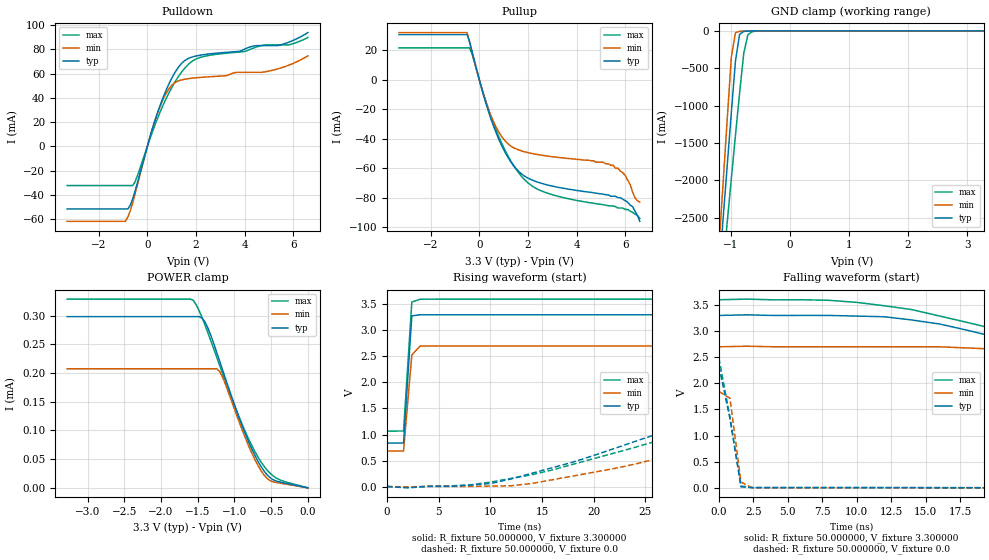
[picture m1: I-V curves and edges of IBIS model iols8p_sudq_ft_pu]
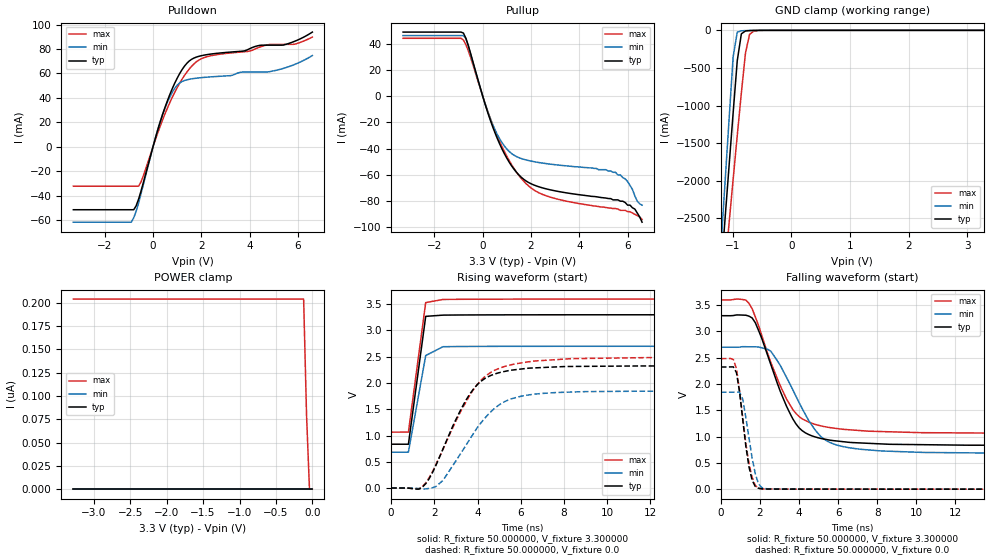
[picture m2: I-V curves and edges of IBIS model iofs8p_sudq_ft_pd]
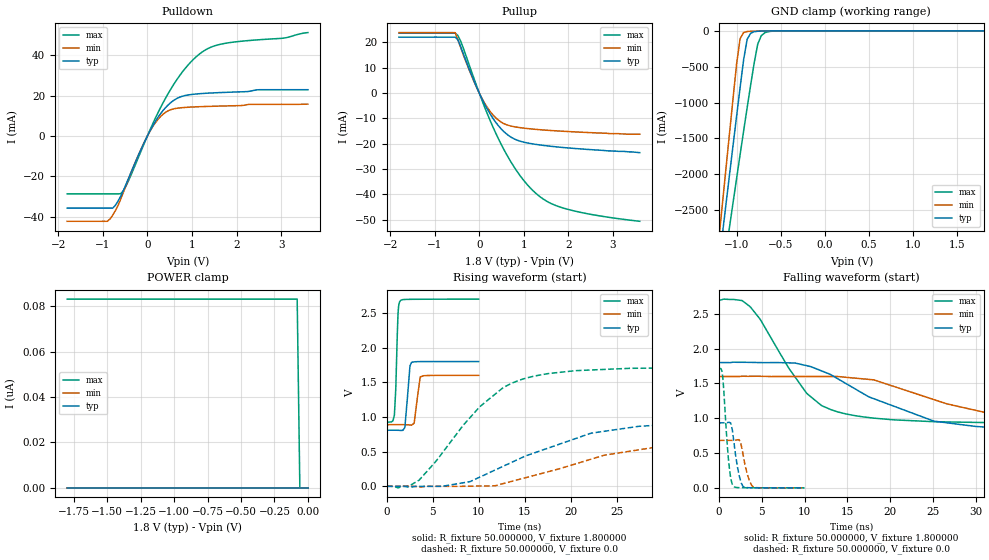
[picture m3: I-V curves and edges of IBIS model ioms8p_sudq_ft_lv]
|   IBIS file stm32l412_422_wlcsp36.ibs
[IBIS ver]   4.2
[File name]   stm32l412_422_wlcsp36.ibs
[File Rev]   1.0
[Date]   08-10-2018
[Source]   Data Created at STMicroelectronics
[Notes]   File originated from ELDO simulations.
[Disclaimer]   This information is for modeling purpose only and is
   not guarantEed.
   The information is subject to change without notice.
[Copyright]   Copyright 2018 STMicroelectronics Inc.
|   Component stm32l412_422_wlcsp36
[Component] stm32l412_422_wlcsp36
[Manufacturer] STMicroelectronics
[Package]
| variable   typ   min   max
R_pkg   0   0   0
L_pkg   0   0   0
C_pkg   0   0   0
[Pin]   signal_name   model_name   R_pin   L_pin   C_pin
A1 PA12 io8usblsfs_otg2
A2 PA14 io8prog2m25m50m120m_sudq_ft
A3 PB4 io8prog2m25m50m120m_sudq_i2c_ft
A4 PB7 io8prog2m25m50m120m_sudq_i2c_ft
A5 VSS GND
A6 VDD POWER
B1 PA11 io8usblsfs_otg2
B2 PA13 io8prog2m25m50m120m_sudq_ft
B3 PB3 io8prog2m25m50m120m_sudq_ft
B4 PB6 io8prog2m25m50m120m_sudq_i2c_ft
B5 PB8 io8prog2m25m50m120m_sudq_i2c_ft
B6 PC14-OSC32_IN io8prog2m25m50m120m_sudq_ft
C1 PA9 io8prog2m25m50m120m_sudq_i2c_ft
C2 PA10 io8prog2m25m50m120m_sudq_i2c_ft
C3 PA15 io8prog2m25m50m120m_sudq_ft
C4 PB5 io8prog2m25m50m120m_sudq_ft
C5 PH3-BOOT0 io8prog2m25m50m120m_sudq_ft
C6 PC15-OSC32_OUT io8prog2m25m50m120m_sudq_ft
D1 PA8 io8prog2m25m50m120m_sudq_ft
D2 PB1 io8prog2m25m50m120m_sudq_ft
D3 PA6 io8prog2m25m50m120m_sudq_ft
D4 PA1 io8prog2m25m50m120m_sudq_ft
D5 PA0 io8prog2m25m50m120m_sudq_ft
D6 NRST ioreset_ft_v33
E1 VDD POWER
E2 PB2 io8prog2m25m50m120m_sudq_ft
E3 PA7 io8prog2m25m50m120m_sudq_i2c_ft
E4 PA5 io8prog2m25m50m120m_sudq_ft
E5 PA2 io8prog2m25m50m120m_sudq_ft
E6 VREF+ POWER
F1 VSS GND
F2 PB10 io8prog2m25m50m120m_sudq_i2c_ft
F3 PB0 io8prog2m25m50m120m_sudq_ft
F4 PA4 io8prog2m25m50m120m_sudq_ft
F5 PA3 io8prog2m25m50m120m_sudq_ft
F6 VDDA POWER
[Model Selector] io8prog2m25m50m120m_sudq_ft
iols8p_sudq_ft_pd_lv  "IO low speed, PD=40kOhm - 1P8V"
iols8p_sudq_ft_pu_lv  "IO low speed, PU=40kOhm - 1P8V"
iols8p_sudq_ft_lv  "IO low speed - 1P8V"
iols8p_sudq_ft_pd  "IO low speed, PD=40kOhm - 3P3V"
iols8p_sudq_ft_pu  "IO low speed, PU=40kOhm - 3P3V"
iols8p_sudq_ft  "IO low speed - 3P3V"
iofs8p_sudq_ft_pd_lv  "IO full speed, PD=40kOhm - 1P8V"
iofs8p_sudq_ft_pu_lv  "IO full speed, PU=40kOhm - 1P8V"
iofs8p_sudq_ft_lv  "IO full speed - 1P8V"
iofs8p_sudq_ft_pd  "IO full speed, PD=40kOhm - 3P3V"
iofs8p_sudq_ft_pu  "IO full speed, PU=40kOhm - 3P3V"
iofs8p_sudq_ft  "IO full speed - 3P3V"
ioms8p_sudq_ft_pd_lv  "IO medium speed, PD=40kOhm - 1P8V"
ioms8p_sudq_ft_pu_lv  "IO medium speed, PU=40kOhm - 1P8V"
ioms8p_sudq_ft_lv  "IO medium speed - 1P8V"
ioms8p_sudq_ft_pd  "IO medium speed, PD=40kOhm - 3P3V"
ioms8p_sudq_ft_pu  "IO medium speed, PU=40kOhm - 3P3V"
ioms8p_sudq_ft  "IO medium speed - 3P3V"
iohs8p_sudq_ft_pd_lv  "IO high speed, PD=40kOhm - 1P8V"
iohs8p_sudq_ft_pu_lv  "IO high speed, PU=40kOhm - 1P8V"
iohs8p_sudq_ft_lv  "IO high speed - 1P8V"
iohs8p_sudq_ft_pd  "IO high speed, PD=40kOhm - 3P3V"
iohs8p_sudq_ft_pu  "IO high speed, PU=40kOhm - 3P3V"
iohs8p_sudq_ft  "IO high speed - 3P3V"
[Model Selector] io8prog2m25m50m120m_sudq_i2c_ft
io8prog_1v8_i2c_pd  "5V Tol GPIO 1.8V range i2c functionality with pull down"
io8prog_1v8_i2c_pu  "5V Tol GPIO 1.8V range i2c functionality with pull up"
io8prog_1v8_i2c  "5V Tol GPIO 1.8V range i2c functionality"
io8prog_3v3_i2c_pd  "5V Tol GPIO 3.3V range i2c functionality with pull down"
io8prog_3v3_i2c_pu  "5V Tol GPIO 3.3V range i2c functionality with pull up"
io8prog_3v3_i2c  "5V Tol GPIO 3.3V range i2c functionality"
io8ls_1v8_pd  "5V Tol GPIO 1.8V range with pd io low speed"
io8ls_1v8_pu  "5V Tol GPIO 1.8V range with pu io low speed"
io8ls_1v8  "5V Tol GPIO 1.8V range io low speed"
io8ls_3v3_pd  "5V Tol GPIO 3.3V range with pd io low speed"
io8ls_3v3_pu  "5V Tol GPIO 3.3V range with pu io low speed"
io8ls_3v3  "5V Tol GPIO 3.3V range io low speed"
io8fs_1v8_pd  "5V Tol GPIO 1.8V range with pd io full speed"
io8fs_1v8_pu  "5V Tol GPIO 1.8V range with pu io full speed"
io8fs_1v8  "5V Tol GPIO 1.8V range io full speed"
io8fs_3v3_pd  "5V Tol GPIO 3.3V range with pd io full speed"
io8fs_3v3_pu  "5V Tol GPIO 3.3V range with pu io full speed"
io8fs_3v3  "5V Tol GPIO 3.3V range io full speed"
io8ms_1v8_pd  "5V Tol GPIO 1.8V range with pd io medium speed"
io8ms_1v8_pu  "5V Tol GPIO 1.8V range with pu io medium speed"
io8ms_1v8  "5V Tol GPIO 1.8V range io medium speed"
io8ms_3v3_pd  "5V Tol GPIO 3.3V range with pd io medium speed"
io8ms_3v3_pu  "5V Tol GPIO 3.3V range with pu io medium speed"
io8ms_3v3  "5V Tol GPIO 3.3V range io medium speed"
io8hs_1v8_pd  "5V Tol GPIO 1.8V range with pd io high speed"
io8hs_1v8_pu  "5V Tol GPIO 1.8V range with pu io high speed"
io8hs_1v8  "5V Tol GPIO 1.8V range io high speed"
io8hs_3v3_pd  "5V Tol GPIO 3.3V range with pd io high speed"
io8hs_3v3_pu  "5V Tol GPIO 3.3V range with pu io high speed"
io8hs_3v3  "5V Tol GPIO 3.3V range io high speed"
[Model Selector] io8usblsfs_otg2
usb_ls_pd  "USB Low Speed mode - Pull Down"
usb_ls_pu2  "USB Low Speed mode - Pull up 2"
usb_ls_pu  "USB Low Speed mode - Pull up"
usb_fs  "USB Low Speed mode"
usb_fs_pd  "USB Full Speed mode - Pull Down"
usb_fs_pu2  "USB Full Speed mode - Pull up 2"
usb_fs_pu  "USB Full Speed mode - Pull up"
[Model Selector] ioreset_ft_v33
ioreset_1v2_pu  "RESET 1.2V range with PU"
ioreset_1v2  "RESET 1.2V range"
ioreset_1v8_pu  "RESET 1.8V range with PU"
ioreset_1v8  "RESET 1.8V range"
ioreset_3v3_pu  "RESET 3.3V range with PU"
ioreset_3v3  "RESET 3.3V range"
| Models and submodels in the file (67): iols8p_sudq_ft_pd_lv (I/O), iols8p_sudq_ft_pu_lv (I/O), iols8p_sudq_ft_lv (I/O), iols8p_sudq_ft_pd (I/O), iols8p_sudq_ft_pu (I/O), iols8p_sudq_ft (I/O), iofs8p_sudq_ft_pd_lv (I/O), iofs8p_sudq_ft_pu_lv (I/O), iofs8p_sudq_ft_lv (I/O), iofs8p_sudq_ft_pd (I/O), iofs8p_sudq_ft_pu (I/O), iofs8p_sudq_ft (I/O), ioms8p_sudq_ft_pd_lv (I/O), ioms8p_sudq_ft_pu_lv (I/O), ioms8p_sudq_ft_lv (I/O), ioms8p_sudq_ft_pd (I/O), ioms8p_sudq_ft_pu (I/O), ioms8p_sudq_ft (I/O), iohs8p_sudq_ft_pd_lv (I/O), iohs8p_sudq_ft_pu_lv (I/O), iohs8p_sudq_ft_lv (I/O), iohs8p_sudq_ft_pd (I/O), iohs8p_sudq_ft_pu (I/O), iohs8p_sudq_ft (I/O), io8prog_1v8_i2c_pd (I/O), io8prog_1v8_i2c_pu (I/O), io8prog_1v8_i2c (I/O), io8prog_3v3_i2c_pd (I/O), io8prog_3v3_i2c_pu (I/O), io8prog_3v3_i2c (I/O), io8ls_1v8_pd (I/O), io8ls_1v8_pu (I/O), io8ls_1v8 (I/O), io8ls_3v3_pd (I/O), io8ls_3v3_pu (I/O), io8ls_3v3 (I/O), io8fs_1v8_pd (I/O), io8fs_1v8_pu (I/O), io8fs_1v8 (I/O), io8fs_3v3_pd (I/O), io8fs_3v3_pu (I/O), io8fs_3v3 (I/O), io8ms_1v8_pd (I/O), io8ms_1v8_pu (I/O), io8ms_1v8 (I/O), io8ms_3v3_pd (I/O), io8ms_3v3_pu (I/O), io8ms_3v3 (I/O), io8hs_1v8_pd (I/O), io8hs_1v8_pu (I/O), io8hs_1v8 (I/O), io8hs_3v3_pd (I/O), io8hs_3v3_pu (I/O), io8hs_3v3 (I/O), usb_ls_pd (I/O), usb_ls_pu2 (I/O), usb_ls_pu (I/O), usb_fs (I/O), usb_fs_pd (I/O), usb_fs_pu2 (I/O), usb_fs_pu (I/O), ioreset_1v2_pu (I/O_open_drain), ioreset_1v2 (I/O_open_drain), ioreset_1v8_pu (I/O_open_drain), ioreset_1v8 (I/O_open_drain), ioreset_3v3_pu (I/O_open_drain), ioreset_3v3 (I/O_open_drain)
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|   Model iols8p_sudq_ft_pu
[Model]  iols8p_sudq_ft_pu
Model_type I/O
Polarity   Non-Inverting
Enable   Active-Low
Vinl =   0.990000V
Vinh =   2.310000V
Vmeas =  1.650000V
Cref =   50.000000pF
Rref =   100.000000M
Vref =   0.0V
C_comp   2.036400pF   1.984000pF   2.082300pF
[Temperature Range]   25.000000   -40.000000   0.125000k
[Pullup Reference]   3.300000V   2.700000V   3.600000V
[Pulldown Reference]   0.0V   0.0V   0.0V
[POWER Clamp Reference]   3.300000V   2.700000V   3.600000V
[GND Clamp Reference]   0.0V   0.0V   0.0V
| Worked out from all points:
|   slope of the pulldown table from 0 to 0.495 V, typ, clamps not added: 15.4 ohm
|   slope of the pullup table from 0 to 0.495 V, typ, clamps not added: 18.1 ohm
|   GND clamp passes 1 mA (typ) near -0.60 V on its own axis
|   rising waveform, R_fixture 50.000000, V_fixture 3.300000: 20-80 % time 485ps typ, 525ps min, 492ps max; typ from 0.836 V to 3.3 V
|   rising waveform, R_fixture 50.000000, V_fixture 0.0: 20-80 % time 24.4ns typ, 26.2ns min, 30.7ns max; typ from 0.001 V to 2.33 V
|   falling waveform, R_fixture 50.000000, V_fixture 3.300000: 20-80 % time 21.2ns typ, 25.4ns min, 23.9ns max; typ from 3.3 V to 0.836 V
|   falling waveform, R_fixture 50.000000, V_fixture 0.0: 20-80 % time 956ps typ, 552ps min, 969ps max; typ from 2.33 V to 0.001 V
[Pulldown]
|Voltage   I(typ)   I(min)   I(max)
-3.3V     -51.62mA   -61.84mA   -32.32mA
-900mV    -51.62mA   -61.84mA   -32.32mA
-800mV    -51.62mA   -58.24mA   -32.32mA
-500mV    -36.51mA   -38.7mA    -28.96mA
400mV     26.66mA    26.58mA    22.18mA
800mV     47.72mA    44.74mA    40.6mA
1.1V      59.79mA    52.18mA    51.93mA
1.5V      70.22mA    55.24mA    63.66mA
2.1V      74.97mA    56.75mA    72.88mA
4.9V      83.13mA    61.75mA    83.74mA
5.8V      85.85mA    66.87mA    83.74mA
6.6V      93.9mA     74.68mA    89.84mA
[Pullup]
|Voltage   I(typ)   I(min)   I(max)
-3.3V     30.51mA    31.92mA    21.54mA
-500mV    30.51mA    31.92mA    21.54mA
-300mV    19.24mA    18.93mA    17.46mA
500mV     -27.53mA   -25.31mA   -25.83mA
1V        -47.29mA   -40.29mA   -45.86mA
1.5V      -60.05mA   -46.83mA   -60.43mA
2V        -66.7mA    -49.43mA   -69.91mA
2.7V      -70.92mA   -51.53mA   -76.32mA
5.5V      -79mA      -58mA      -85.6mA
6V        -82mA      -65mA      -88mA
6.3V      -86mA      -76mA      -90mA
6.6V      -96mA      -83mA      -94mA
[GND_clamp]
|Voltage   I(typ)   I(min)   I(max)
-3.3V     -9.812A    -9.822A    -9.937A
-1.2V     -3.251A    -2.905A    -3.763A
-1.13V    -2.527A    -2.046A    -3.165A
-1.06V    -1.808A    -1.191A    -2.57A
-990mV    -1.097A    -352.6mA   -1.979A
-920mV    -404.2mA   -25.08mA   -1.398A
-850mV    -46.53mA   -6.503mA   -832.3mA
-780mV    -8.496mA   -3.578mA   -302.4mA
-710mV    -3.383mA   -1.716mA   -53.8mA
-640mV    -1.589mA   -553.8uA   -11.72mA
-360mV    -2.023uA   0A         -84.67uA
3.28V     0A         0A         0A
[POWER_clamp]
|Voltage   I(typ)   I(min)   I(max)
-3.28V    298.2uA    207.4uA    328.7uA
-1.56V    298.2uA    207.4uA    326.5uA
-1.48V    298.2uA    207.4uA    308.2uA
-1.4V     288.5uA    207.4uA    283.1uA
-1.24V    235.4uA    207.4uA    226.9uA
-1.2V     220.1uA    202.1uA    212.7uA
-1.12V    189.4uA    179.6uA    184.4uA
-920mV    116.5uA    109.4uA    118.1uA
-680mV    46.31uA    39.06uA    53.8uA
-560mV    23.38uA    16.91uA    31.65uA
-480mV    14.66uA    10.76uA    21.51uA
0V        0A         0A         0A
[Ramp]
| variable   typ   min   max
dV/dt_r  1.39432/24.32907n   1.10712/26.03302n   1.49022/30.66754n
dV/dt_f  1.47837/21.11983n   1.20959/25.32351n   1.52028/23.79583n
R_load = 50.000000
[Rising Waveform]
R_fixture= 50.000000
V_fixture= 3.300000
V_fixture_min= 2.700000
V_fixture_max= 3.600000
|time   V(typ)   V(min)   V(max)
0s        836mV      684mV      1.066V
1.602ns   835.8mV    683.5mV    1.067V
2.402ns   3.279V     2.529V     3.543V
3.203ns   3.299V     2.699V     3.598V
79.28ns   3.3V       2.7V       3.6V
[Rising Waveform]
R_fixture= 50.000000
V_fixture= 0.0
V_fixture_min= 0.0
V_fixture_max= 0.0
|time   V(typ)   V(min)   V(max)
0s        932.5uV    605.4uV    1.507mV
10.01ns   58.21mV    9.253mV    85.87mV
14.01ns   255mV      59.61mV    227.5mV
22.02ns   733mV      347.4mV    646.1mV
34.03ns   1.487V     931.9mV    1.309V
46.05ns   1.978V     1.401V     1.857V
58.06ns   2.166V     1.659V     2.17V
86.09ns   2.285V     1.807V     2.399V
188.2ns   2.326V     1.846V     2.486V
997ns     2.325V     1.846V     2.486V
[Falling Waveform]
R_fixture= 50.000000
V_fixture= 3.300000
V_fixture_min= 2.700000
V_fixture_max= 3.600000
|time   V(typ)   V(min)   V(max)
0s        3.3V       2.7V       3.6V
8.008ns   3.3V       2.7V       3.589V
16.02ns   3.136V     2.699V     3.289V
24.02ns   2.583V     2.575V     2.745V
38.04ns   1.562V     1.936V     1.818V
46.05ns   1.184V     1.512V     1.461V
54.05ns   1.038V     1.14V      1.302V
62.06ns   969.1mV    930.8mV    1.229V
88.09ns   885.8mV    756.3mV    1.123V
997ns     836mV      684mV      1.066V
[Falling Waveform]
R_fixture= 50.000000
V_fixture= 0.0
V_fixture_min= 0.0
V_fixture_max= 0.0
|time   V(typ)   V(min)   V(max)
0s        2.325V     1.846V     2.486V
800.8ps   1.327V     1.716V     1.355V
1.602ns   20.24mV    111mV      36.22mV
2.402ns   4.804mV    3.818mV    6.652mV
79.28ns   932.5uV    605.4uV    1.507mV
|   Model iofs8p_sudq_ft_pd
[Model]  iofs8p_sudq_ft_pd
Model_type I/O
Polarity   Non-Inverting
Enable   Active-Low
Vinl =   0.990000V
Vinh =   2.310000V
Vmeas =  1.650000V
Cref =   30.000000pF
Rref =   100.000000M
Vref =   0.0V
C_comp   2.036400pF   1.984000pF   2.082300pF
[Temperature Range]   25.000000   -40.000000   0.125000k
[Pullup Reference]   3.300000V   2.700000V   3.600000V
[Pulldown Reference]   0.0V   0.0V   0.0V
[POWER Clamp Reference]   3.300000V   2.700000V   3.600000V
[GND Clamp Reference]   0.0V   0.0V   0.0V
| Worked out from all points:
|   slope of the pulldown table from 0 to 0.495 V, typ, clamps not added: 15.4 ohm
|   slope of the pullup table from 0 to 0.495 V, typ, clamps not added: 18.1 ohm
|   GND clamp passes 1 mA (typ) near -0.60 V on its own axis
|   rising waveform, R_fixture 50.000000, V_fixture 3.300000: 20-80 % time 486ps typ, 526ps min, 494ps max; typ from 0.835 V to 3.3 V
|   rising waveform, R_fixture 50.000000, V_fixture 0.0: 20-80 % time 1.66ns typ, 1.92ns min, 1.89ns max; typ from 0 V to 2.32 V
|   falling waveform, R_fixture 50.000000, V_fixture 3.300000: 20-80 % time 1.55ns typ, 1.79ns min, 1.64ns max; typ from 3.3 V to 0.835 V
|   falling waveform, R_fixture 50.000000, V_fixture 0.0: 20-80 % time 470ps typ, 493ps min, 522ps max; typ from 2.32 V to 0 V
[Pulldown]
|Voltage   I(typ)   I(min)   I(max)
-3.3V     -51.62mA   -61.83mA   -32.32mA
-900mV    -51.62mA   -61.83mA   -32.32mA
-800mV    -51.62mA   -58.24mA   -32.32mA
-500mV    -36.51mA   -38.71mA   -28.96mA
400mV     26.66mA    26.58mA    22.18mA
800mV     47.72mA    44.74mA    40.6mA
1.1V      59.79mA    52.18mA    51.93mA
1.5V      70.22mA    55.24mA    63.66mA
2.1V      74.97mA    56.75mA    72.88mA
4.9V      83.19mA    61.75mA    83.83mA
5.9V      86.64mA    67.67mA    84.15mA
6.6V      93.9mA     74.68mA    89.84mA
[Pullup]
|Voltage   I(typ)   I(min)   I(max)
-3.3V     48.87mA    46.22mA    44.14mA
-800mV    48.12mA    46.22mA    42.77mA
-600mV    38.73mA    38.61mA    34.8mA
200mV     -11.99mA   -11.47mA   -11.05mA
600mV     -32.08mA   -29.08mA   -30.29mA
1.3V      -55.75mA   -45.02mA   -55.23mA
2V        -66.7mA    -49.43mA   -69.91mA
3.2V      -72.82mA   -52.6mA    -78.89mA
5.5V      -79mA      -58mA      -85.6mA
6V        -83mA      -65mA      -88mA
6.3V      -86mA      -76mA      -90mA
6.6V      -96mA      -83mA      -94mA
[GND_clamp]
|Voltage   I(typ)   I(min)   I(max)
-3.3V     -9.812A    -9.822A    -9.937A
-1.2V     -3.251A    -2.905A    -3.763A
-1.13V    -2.527A    -2.046A    -3.165A
-1.06V    -1.808A    -1.191A    -2.57A
-990mV    -1.097A    -352.7mA   -1.979A
-920mV    -404.2mA   -25.09mA   -1.398A
-850mV    -46.54mA   -6.516mA   -832.3mA
-780mV    -8.509mA   -3.59mA    -302.4mA
-710mV    -3.395mA   -1.728mA   -53.82mA
-640mV    -1.602mA   -565.6uA   -11.73mA
-360mV    -11.48uA   -7.86uA    -95.15uA
3.28V     87.11uA    57.76uA    110.6uA
[POWER_clamp]
|Voltage   I(typ)   I(min)   I(max)
-3.28V    0A         0A         204.1nA
-120mV    0A         0A         204.1nA
-80mV     0A         0A         79.47nA
-40mV     0A         0A         0A
0V        0A         0A         0A
[Ramp]
| variable   typ   min   max
dV/dt_r  1.39416/1.65295n   1.10664/1.91106n   1.48986/1.88847n
dV/dt_f  1.47851/1.54452n   1.20975/1.78516n   1.52064/1.64136n
R_load = 50.000000
[Rising Waveform]
R_fixture= 50.000000
V_fixture= 3.300000
V_fixture_min= 2.700000
V_fixture_max= 3.600000
|time   V(typ)   V(min)   V(max)
0s        834.7mV    683mV      1.064V
800.8ps   834.1mV    682.6mV    1.065V
1.602ns   3.269V     2.523V     3.532V
2.402ns   3.293V     2.691V     3.591V
79.28ns   3.299V     2.699V     3.598V
[Rising Waveform]
R_fixture= 50.000000
V_fixture= 0.0
V_fixture_min= 0.0
V_fixture_max= 0.0
|time   V(typ)   V(min)   V(max)
0s        467.6nV    1.94uV     32.32nV
1.281ns   -21.71mV   -9.578mV   -16.11mV
1.602ns   82.39mV    -16.2mV    97.29mV
2.402ns   745.2mV    146.1mV    737.2mV
3.363ns   1.599V     748.8mV    1.563V
4.164ns   2.034V     1.243V     2.051V
5.125ns   2.209V     1.616V     2.297V
6.567ns   2.286V     1.784V     2.416V
11.85ns   2.324V     1.844V     2.483V
79.76ns   2.323V     1.844V     2.483V
[Falling Waveform]
R_fixture= 50.000000
V_fixture= 3.300000
V_fixture_min= 2.700000
V_fixture_max= 3.600000
|time   V(typ)   V(min)   V(max)
0s        3.299V     2.699V     3.598V
1.441ns   3.29V      2.708V     3.533V
1.762ns   3.168V     2.708V     3.28V
2.563ns   2.366V     2.622V     2.408V
3.363ns   1.576V     2.125V     1.713V
4.004ns   1.166V     1.648V     1.381V
5.125ns   963.8mV    997.6mV    1.203V
6.246ns   903.5mV    810.3mV    1.139V
14.57ns   835.6mV    684.3mV    1.065V
79.76ns   834.7mV    683mV      1.064V
[Falling Waveform]
R_fixture= 50.000000
V_fixture= 0.0
V_fixture_min= 0.0
V_fixture_max= 0.0
|time   V(typ)   V(min)   V(max)
0s        2.323V     1.844V     2.483V
640.6ps   2.325V     1.844V     2.467V
800.8ps   2.215V     1.846V     2.29V
961ps     1.845V     1.845V     1.869V
1.121ns   1.325V     1.711V     1.358V
1.441ns   423.7mV    974.8mV    489.4mV
1.602ns   169mV      591.1mV    227.2mV
1.922ns   18.14mV    106.8mV    17.22mV
2.082ns   7.867mV    32.78mV    6.538mV
79.76ns   467.6nV    1.94uV     32.32nV
|   Model ioms8p_sudq_ft_lv
[Model]  ioms8p_sudq_ft_lv
Model_type I/O
Polarity   Non-Inverting
Enable   Active-Low
Vinl =   0.540000V
Vinh =   1.260000V
Vmeas =  0.900000V
Cref =   50.000000pF
Rref =   100.000000M
Vref =   0.0V
C_comp   1.984800pF   1.899400pF   2.077500pF
[Temperature Range]   25.000000   -40.000000   0.125000k
[Pullup Reference]   1.800000V   1.600000V   2.700000V
[Pulldown Reference]   0.0V   0.0V   0.0V
[POWER Clamp Reference]   1.800000V   1.600000V   2.700000V
[GND Clamp Reference]   0.0V   0.0V   0.0V
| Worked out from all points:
|   slope of the pulldown table from 0 to 0.27 V, typ, clamps not added: 26.4 ohm
|   slope of the pullup table from 0 to 0.27 V, typ, clamps not added: 30.1 ohm
|   GND clamp passes 1 mA (typ) near -0.61 V on its own axis
|   rising waveform, R_fixture 50.000000, V_fixture 1.800000: 20-80 % time 371ps typ, 419ps min, 254ps max; typ from 0.809 V to 1.8 V
|   rising waveform, R_fixture 50.000000, V_fixture 0.0: 20-80 % time 10.8ns typ, 12.9ns min, 6.95ns max; typ from 0 V to 0.934 V
|   falling waveform, R_fixture 50.000000, V_fixture 1.800000: 20-80 % time 10.6ns typ, 12.5ns min, 5.82ns max; typ from 1.8 V to 0.809 V
|   falling waveform, R_fixture 50.000000, V_fixture 0.0: 20-80 % time 693ps typ, 758ps min, 589ps max; typ from 0.934 V to 0 V
[Pulldown]
|Voltage   I(typ)   I(min)   I(max)
-1.8V     -35.64mA   -42.15mA   -28.59mA
-900mV    -35.64mA   -42.15mA   -28.59mA
-780mV    -35.64mA   -39.2mA    -28.59mA
-600mV    -29.83mA   -31.3mA    -28.52mA
-420mV    -20.8mA    -21.07mA   -21.98mA
60mV      2.604mA    2.459mA    3.062mA
240mV     9.303mA    8.31mA     11.61mA
480mV     15.67mA    12.64mA    21.52mA
720mV     19.18mA    13.9mA     29.74mA
960mV     20.46mA    14.3mA     36.27mA
1.44V     21.29mA    14.7mA     44.06mA
3.6V      22.91mA    15.79mA    51.15mA
[Pullup]
|Voltage   I(typ)   I(min)   I(max)
-1.8V     22.09mA    23.9mA     23.64mA
-540mV    22.09mA    23.85mA    23.64mA
-480mV    21.02mA    21.11mA    22.75mA
-60mV     2.392mA    2.26mA     2.893mA
300mV     -9.801mA   -8.48mA    -13.12mA
480mV     -13.91mA   -11.33mA   -19.82mA
720mV     -17.48mA   -13.04mA   -27.46mA
1.02V     -19.45mA   -13.87mA   -34.97mA
1.32V     -20.37mA   -14.39mA   -40.32mA
1.62V     -21.02mA   -14.78mA   -43.66mA
2.04V     -21.71mA   -15.22mA   -46.12mA
3.6V      -23.5mA    -16.2mA    -50.6mA
[GND_clamp]
|Voltage   I(typ)   I(min)   I(max)
-1.8V     -9.477A    -9.805A    -9.016A
-1.2V     -3.243A    -2.9A      -3.759A
-1.16V    -2.83A     -2.409A    -3.417A
-1.12V    -2.418A    -1.919A    -3.076A
-1.08V    -2.008A    -1.431A    -2.736A
-1V       -1.194A    -466mA     -2.061A
-960mV    -792.8mA   -108.7mA   -1.727A
-920mV    -402mA     -24.35mA   -1.396A
-880mV    -117.8mA   -9.188mA   -1.071A
-760mV    -5.896mA   -2.88mA    -183.8mA
-680mV    -2.395mA   -1.099mA   -26.61mA
1.8V      0A         0A         0A
[POWER_clamp]
|Voltage   I(typ)   I(min)   I(max)
-1.8V     0A         0A         83.17nA
-80mV     0A         0A         83.17nA
-60mV     0A         0A         0A
0V        0A         0A         0A
[Ramp]
| variable   typ   min   max
dV/dt_r  0.55936/10.78723n   0.40741/12.82335n   1.02762/6.94428n
dV/dt_f  0.58910/10.62194n   0.41216/12.43692n   1.06389/5.81725n
R_load = 50.000000
[Rising Waveform]
R_fixture= 50.000000
V_fixture= 1.800000
V_fixture_min= 1.600000
V_fixture_max= 2.700000
|time   V(typ)   V(min)   V(max)
0s        808.7mV    889.5mV    926.7mV
800.8ps   808.8mV    889.6mV    1.022V
961ps     808.7mV    889.6mV    1.423V
1.201ns   808.4mV    889.6mV    2.49V
1.461ns   806.3mV    889.6mV    2.679V
1.942ns   847.7mV    889mV      2.695V
2.503ns   1.738V     884.3mV    2.697V
2.683ns   1.788V     882mV      2.697V
3.624ns   1.799V     1.578V     2.698V
9.97ns    1.8V       1.6V       2.7V
[Rising Waveform]
R_fixture= 50.000000
V_fixture= 0.0
V_fixture_min= 0.0
V_fixture_max= 0.0
|time   V(typ)   V(min)   V(max)
0s        370nV      499.7nV    14.93uV
1.201ns   21.28uV    -847.3nV   -22.39mV
3.504ns   -45.64uV   -8.626mV   89.62mV
10.11ns   133.1mV    3.87mV     1.149V
12.71ns   292.9mV    41.21mV    1.427V
15.32ns   448.8mV    132.2mV    1.567V
22.22ns   766.3mV    391.5mV    1.678V
27.33ns   863.7mV    524.8mV    1.703V
31.63ns   900.3mV    612.9mV    1.707V
49.85ns   934.4mV    682.2mV    1.714V
[Falling Waveform]
R_fixture= 50.000000
V_fixture= 1.800000
V_fixture_min= 1.600000
V_fixture_max= 2.700000
|time   V(typ)   V(min)   V(max)
0s        1.8V       1.6V       2.7V
2.703ns   1.805V     1.604V     2.691V
3.604ns   1.803V     1.603V     2.607V
10.21ns   1.757V     1.6V       1.364V
12.01ns   1.679V     1.6V       1.18V
13.91ns   1.565V     1.599V     1.089V
18.12ns   1.279V     1.55V      1.001V
25.13ns   958.1mV    1.267V     950.5mV
34.23ns   848.9mV    996.2mV    932mV
49.85ns   808.7mV    889.5mV    926.7mV
[Falling Waveform]
R_fixture= 50.000000
V_fixture= 0.0
V_fixture_min= 0.0
V_fixture_max= 0.0
|time   V(typ)   V(min)   V(max)
0s        934.4mV    682.2mV    1.714V
440.4ps   934.4mV    682.2mV    1.598V
1.121ns   941.4mV    682.1mV    402.2mV
1.381ns   930.7mV    682mV      145.6mV
1.662ns   743.1mV    681.5mV    28.95mV
2.362ns   179.6mV    691.6mV    3.175mV
2.823ns   20.43mV    478mV      2.219mV
3.584ns   1.674mV    95.95mV    1.739mV
4.164ns   722.4uV    4.131mV    1.434mV
9.97ns    370nV      499.7nV    14.93uV
